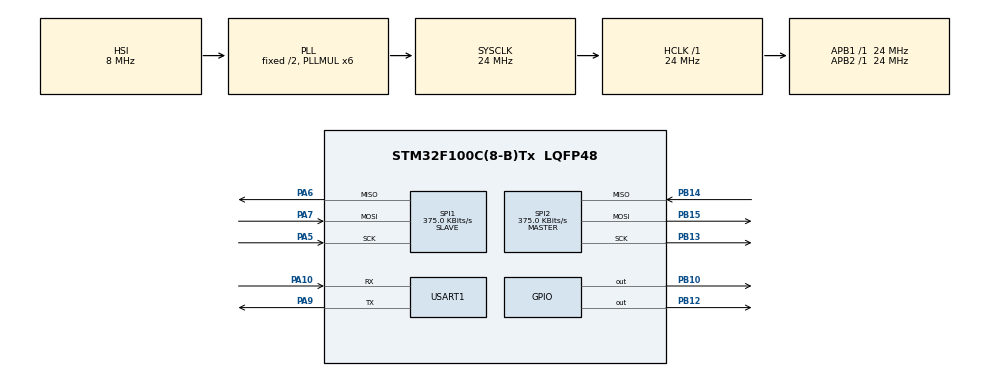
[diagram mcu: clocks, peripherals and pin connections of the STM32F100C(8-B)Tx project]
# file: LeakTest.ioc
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Dma.Request0=USART1_RX
Dma.Request1=USART1_TX
Dma.USART1_RX.0.Direction=DMA_PERIPH_TO_MEMORY
Dma.USART1_RX.0.Instance=DMA1_Channel5
Dma.USART1_RX.0.MemDataAlignment=DMA_MDATAALIGN_BYTE
Dma.USART1_RX.0.MemInc=DMA_MINC_ENABLE
Dma.USART1_RX.0.Mode=DMA_CIRCULAR
Dma.USART1_RX.0.PeriphDataAlignment=DMA_PDATAALIGN_BYTE
Dma.USART1_RX.0.PeriphInc=DMA_PINC_DISABLE
Dma.USART1_RX.0.Priority=DMA_PRIORITY_LOW
Dma.USART1_TX.1.Direction=DMA_MEMORY_TO_PERIPH
Dma.USART1_TX.1.Instance=DMA1_Channel4
Dma.USART1_TX.1.MemDataAlignment=DMA_MDATAALIGN_BYTE
Dma.USART1_TX.1.MemInc=DMA_MINC_ENABLE
Dma.USART1_TX.1.Mode=DMA_NORMAL
Dma.USART1_TX.1.PeriphDataAlignment=DMA_PDATAALIGN_BYTE
Dma.USART1_TX.1.PeriphInc=DMA_PINC_DISABLE
Dma.USART1_TX.1.Priority=DMA_PRIORITY_LOW
Mcu.Family=STM32F1
Mcu.Name=STM32F100C(8-B)Tx
Mcu.Package=LQFP48
NVIC.DMA1_Channel4_IRQn=true\:0\:0\:false\:false\:true\:false
NVIC.DMA1_Channel5_IRQn=true\:0\:0\:false\:false\:true\:false
NVIC.PriorityGroup=NVIC_PRIORITYGROUP_4
NVIC.RTC_IRQn=true\:0\:0\:false\:false\:true\:true
NVIC.SPI1_IRQn=true\:0\:0\:false\:false\:true\:true
NVIC.USART1_IRQn=true\:0\:0\:false\:false\:true\:true
PA10.Mode=Asynchronous
PA10.Signal=USART1_RX
PA13.Mode=Serial_Wire
PA13.Signal=SYS_JTMS-SWDIO
PA14.Mode=Serial_Wire
PA14.Signal=SYS_JTCK-SWCLK
PA5.GPIO_PuPd=GPIO_PULLDOWN
PA5.Mode=Full_Duplex_Slave
PA5.Signal=SPI1_SCK
PA6.GPIO_ModeDefaultPP=GPIO_MODE_AF_OD
PA6.Mode=Full_Duplex_Slave
PA6.Signal=SPI1_MISO
PA7.GPIO_PuPd=GPIO_PULLUP
PA7.Mode=Full_Duplex_Slave
PA7.Signal=SPI1_MOSI
PA9.Mode=Asynchronous
PA9.Signal=USART1_TX
PB10.PinState=GPIO_PIN_SET
PB10.Signal=GPIO_Output
PB12.PinState=GPIO_PIN_SET
PB12.Signal=GPIO_Output
PB13.Mode=Full_Duplex_Master
PB13.Signal=SPI2_SCK
PB14.GPIO_PuPd=GPIO_PULLUP
PB14.Mode=Full_Duplex_Master
PB14.Signal=SPI2_MISO
PB15.Mode=Full_Duplex_Master
PB15.Signal=SPI2_MOSI
PD0-OSC_IN.Mode=HSE-External-Oscillator
PD0-OSC_IN.Signal=RCC_OSC_IN
PD1-OSC_OUT.Mode=HSE-External-Oscillator
PD1-OSC_OUT.Signal=RCC_OSC_OUT
ProjectManager.HeapSize=0x200
ProjectManager.StackSize=0x400
ProjectManager.TargetToolchain=EWARM
RCC.AHBFreq_Value=24000000
RCC.APB1Freq_Value=24000000
RCC.APB1TimFreq_Value=24000000
RCC.APB2Freq_Value=24000000
RCC.APB2TimFreq_Value=24000000
RCC.HCLKFreq_Value=24000000
RCC.PLLMUL=RCC_PLL_MUL6
RCC.SYSCLKFreq_VALUE=24000000
RCC.SYSCLKSource=RCC_SYSCLKSOURCE_PLLCLK
SPI1.BaudRatePrescaler=SPI_BAUDRATEPRESCALER_64
SPI1.CLKPolarity=SPI_POLARITY_LOW
SPI1.CalculateBaudRate=375.0 KBits/s
SPI1.Direction=SPI_DIRECTION_2LINES
SPI1.Mode=SPI_MODE_SLAVE
SPI1.VirtualType=VM_SLAVE
SPI2.BaudRatePrescaler=SPI_BAUDRATEPRESCALER_64
SPI2.CLKPolarity=SPI_POLARITY_LOW
SPI2.CalculateBaudRate=375.0 KBits/s
SPI2.Direction=SPI_DIRECTION_2LINES
SPI2.Mode=SPI_MODE_MASTER
SPI2.VirtualType=VM_MASTER
USART1.VirtualMode=VM_ASYNC
VP_RTC_VS_RTC_Activate.Mode=RTC_Enabled
board=LeakTest

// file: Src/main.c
/**
******************************************************************************
* @file           : main.c
* @brief          : Main program body
******************************************************************************
** This notice applies to any and all portions of this file
* that are not between comment pairs USER CODE BEGIN and
* USER CODE END. Other portions of this file, whether
* inserted by the user or by software development tools
* are owned by their respective copyright owners.
*
* COPYRIGHT(c) 2019 STMicroelectronics
*
* Redistribution and use in source and binary forms, with or without modification,
* are permitted provided that the following conditions are met:
*   1. Redistributions of source code must retain the above copyright notice,
*      this list of conditions and the following disclaimer.
*   2. Redistributions in binary form must reproduce the above copyright notice,
*      this list of conditions and the following disclaimer in the documentation
*      and/or other materials provided with the distribution.
*   3. Neither the name of STMicroelectronics nor the names of its contributors
*      may be used to endorse or promote products derived from this software
*      without specific prior written permission.
*
* THIS SOFTWARE IS PROVIDED BY THE COPYRIGHT HOLDERS AND CONTRIBUTORS "AS IS"
* AND ANY EXPRESS OR IMPLIED WARRANTIES, INCLUDING, BUT NOT LIMITED TO, THE
* IMPLIED WARRANTIES OF MERCHANTABILITY AND FITNESS FOR A PARTICULAR PURPOSE ARE
* DISCLAIMED. IN NO EVENT SHALL THE COPYRIGHT HOLDER OR CONTRIBUTORS BE LIABLE
* FOR ANY DIRECT, INDIRECT, INCIDENTAL, SPECIAL, EXEMPLARY, OR CONSEQUENTIAL
* DAMAGES (INCLUDING, BUT NOT LIMITED TO, PROCUREMENT OF SUBSTITUTE GOODS OR
* SERVICES; LOSS OF USE, DATA, OR PROFITS; OR BUSINESS INTERRUPTION) HOWEVER
* CAUSED AND ON ANY THEORY OF LIABILITY, WHETHER IN CONTRACT, STRICT LIABILITY,
* OR TORT (INCLUDING NEGLIGENCE OR OTHERWISE) ARISING IN ANY WAY OUT OF THE USE
* OF THIS SOFTWARE, EVEN IF ADVISED OF THE POSSIBILITY OF SUCH DAMAGE.
*
******************************************************************************
*/
#include "main.h"
#include "stm32f1xx_hal.h"
#include "dma.h"
#include "rtc.h"
#include "spi.h"
#include "usart.h"
#include "gpio.h"

/* USER CODE BEGIN Includes */
#include "MS5611.h"
#include <math.h>
/* USER CODE END Includes */

/* USER CODE BEGIN PV */

#define UART_SIZE_TX 32
#define UART_SIZE_RX 32

/* Private variables ---------------------------------------------------------*/

/* USER CODE END PV */

void SystemClock_Config(void);

/* USER CODE BEGIN PFP */
/* Private function prototypes -----------------------------------------------*/

/* USER CODE END PFP */

/* USER CODE BEGIN 0 */
//////////////////TEST
uint8_t SPI2_Buffer_Tx[128];
uint8_t SPI1_Buffer_Rx[128];

/* USER CODE END 0 */

double P[5];                  // compensated pressure value
double T[5];
int main(void)
{
  /* USER CODE BEGIN 1 */
  static   uint32_t D1;          // ADC value of the pressure conversion
  static   uint32_t D2;          // ADC value of the temperature conversion
                 // compensated temperature value

  static   uint16_t C1[8];         // calibration coefficients
  static   uint16_t C2[8];         // calibration coefficients

  static uint8_t RX_UART_buffer[UART_SIZE_RX];
  static uint8_t TX_UART_buffer[UART_SIZE_TX];

  /* USER CODE END 1 */

  /* MCU Configuration----------------------------------------------------------*/

  /* Reset of all peripherals, Initializes the Flash interface and the Systick. */
  HAL_Init();

  /* Configure the system clock */
  SystemClock_Config();

  /* Initialize all configured peripherals */
  MX_GPIO_Init();
  MX_DMA_Init();
  MX_SPI1_Init();
  MX_SPI2_Init();
  MX_USART1_UART_Init();
  MX_RTC_Init();

  /* USER CODE BEGIN 2 */

  int i;

  MS5611_init(1);
  MS5611_init(2);

  //read coeffs for baro
  for(i=0; i<8; i++) C1[i] = MS5611_cmd_prom(1,i);
  MS5611_crc4(C1);
  for(i=0; i<8; i++) C2[i] = MS5611_cmd_prom(2,i);
  MS5611_crc4(C1);
  /* USER CODE END 2 */

  /* Infinite loop */
  /* USER CODE BEGIN WHILE */
  HAL_UART_Receive_DMA(&huart1, RX_UART_buffer, UART_SIZE_RX);
  while (1)
  {
    D1 = MS5611_cmd_adc(1, CMD_ADC_D1+CMD_ADC_4096);     // read uncompensated pressure
    D2 = MS5611_cmd_adc(1, CMD_ADC_D2+CMD_ADC_4096);    // read uncompensated temperature

    // calcualte 1st order pressure and temperature (MS5607 1st order algorithm)

    MS5611_Calculate(&T[0], &P[0], C1, D1, D2);

   D1 = MS5611_cmd_adc(2, CMD_ADC_D1+CMD_ADC_4096);     // read uncompensated pressure
   D2 = MS5611_cmd_adc(2, CMD_ADC_D2+CMD_ADC_4096);    // read uncompensated temperature

    MS5611_Calculate(&T[1], &P[1], C2, D1, D2);

    TX_UART_buffer[0] = 0x40;
    TX_UART_buffer[1] = (uint8_t)((int)(T[0])%100);
    TX_UART_buffer[2] = (uint8_t)((int)(T[0]*100)%100);
    TX_UART_buffer[3] = (uint8_t)(((int)(P[0]/10.0)));
    TX_UART_buffer[4] = (uint8_t)(((int)(P[0]*10.0))%100);
    TX_UART_buffer[5] = (uint8_t)(((int)(P[0]*1000))%100);
    TX_UART_buffer[6] = (uint8_t)((int)(T[1])%100);
    TX_UART_buffer[7] = (uint8_t)((int)(T[1]*100)%100);
    TX_UART_buffer[8] = (uint8_t)(((int)(P[1]/10.0)));
    TX_UART_buffer[9] = (uint8_t)(((int)(P[1]*10.0))%100);
    TX_UART_buffer[10] = (uint8_t)(((int)(P[1]*1000))%100);

    HAL_UART_Transmit_DMA(&huart1, TX_UART_buffer, UART_SIZE_TX);
    /* USER CODE END WHILE */

    /* USER CODE BEGIN 3 */
    // HAL_StatusTypeDef HAL_UART_Transmit_DMA(UART_HandleTypeDef *huart, uint8_t *pData, uint16_t Size);
    //  HAL_StatusTypeDef HAL_UART_Receive_DMA(UART_HandleTypeDef *huart, uint8_t *pData, uint16_t Size);
  }
  /* USER CODE END 3 */

}

void SystemClock_Config(void)
{

  RCC_OscInitTypeDef RCC_OscInitStruct;
  RCC_ClkInitTypeDef RCC_ClkInitStruct;
  RCC_PeriphCLKInitTypeDef PeriphClkInit;

  /**Initializes the CPU, AHB and APB busses clocks
  */
  RCC_OscInitStruct.OscillatorType = RCC_OSCILLATORTYPE_HSI|RCC_OSCILLATORTYPE_LSI;
  RCC_OscInitStruct.HSIState = RCC_HSI_ON;
  RCC_OscInitStruct.HSICalibrationValue = 16;
  RCC_OscInitStruct.LSIState = RCC_LSI_ON;
  RCC_OscInitStruct.PLL.PLLState = RCC_PLL_ON;
  RCC_OscInitStruct.PLL.PLLSource = RCC_PLLSOURCE_HSI_DIV2;
  RCC_OscInitStruct.PLL.PLLMUL = RCC_PLL_MUL6;
  if (HAL_RCC_OscConfig(&RCC_OscInitStruct) != HAL_OK)
  {
    _Error_Handler(__FILE__, __LINE__);
  }

  /**Initializes the CPU, AHB and APB busses clocks
  */
  RCC_ClkInitStruct.ClockType = RCC_CLOCKTYPE_HCLK|RCC_CLOCKTYPE_SYSCLK
    |RCC_CLOCKTYPE_PCLK1|RCC_CLOCKTYPE_PCLK2;
  RCC_ClkInitStruct.SYSCLKSource = RCC_SYSCLKSOURCE_PLLCLK;
  RCC_ClkInitStruct.AHBCLKDivider = RCC_SYSCLK_DIV1;
  RCC_ClkInitStruct.APB1CLKDivider = RCC_HCLK_DIV1;
  RCC_ClkInitStruct.APB2CLKDivider = RCC_HCLK_DIV1;

  if (HAL_RCC_ClockConfig(&RCC_ClkInitStruct, FLASH_LATENCY_0) != HAL_OK)
  {
    _Error_Handler(__FILE__, __LINE__);
  }

  PeriphClkInit.PeriphClockSelection = RCC_PERIPHCLK_RTC;
  PeriphClkInit.RTCClockSelection = RCC_RTCCLKSOURCE_LSI;
  if (HAL_RCCEx_PeriphCLKConfig(&PeriphClkInit) != HAL_OK)
  {
    _Error_Handler(__FILE__, __LINE__);
  }

  /**Configure the Systick interrupt time
  */
  HAL_SYSTICK_Config(HAL_RCC_GetHCLKFreq()/1000);

  /**Configure the Systick
  */
  HAL_SYSTICK_CLKSourceConfig(SYSTICK_CLKSOURCE_HCLK);

  /* SysTick_IRQn interrupt configuration */
  HAL_NVIC_SetPriority(SysTick_IRQn, 0, 0);
}

void _Error_Handler(char *file, int line)
{
  while(1)
  {
  }
}

/************************ (C) COPYRIGHT STMicroelectronics *****END OF FILE****/
